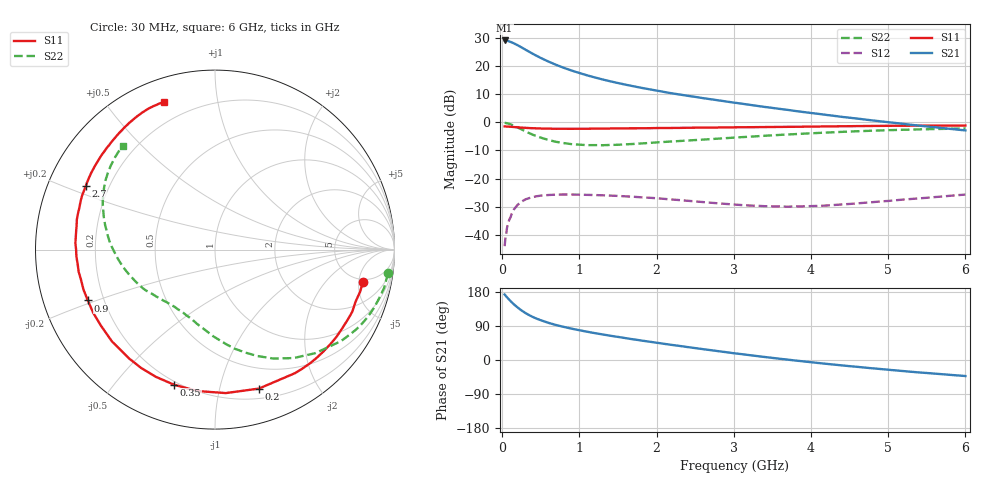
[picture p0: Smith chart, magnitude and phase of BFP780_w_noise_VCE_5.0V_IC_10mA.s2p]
! Infineon Technologies  Discrete & RF Semiconductors
! BFP780
! VCE =  5.0 V,  IC =  10 mA
! Common Emitter S-Parameters:  Jul 2015
# GHz  S  MA  R  50
!  f  S11  S21  S12  S22
! GHz  MAG  ANG  MAG  ANG  MAG  ANG  MAG  ANG
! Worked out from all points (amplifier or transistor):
!   75 points, 30 MHz to 6 GHz, reference 50 ohm
!   highest |S21| = 29.0 dB at 30 MHz (marker M1)
!   |S21| within 3 dB of that: start of sweep to 283.3 MHz
!   unconditionally stable (mu >= 1): 2.573 GHz to end of sweep
!   at 150 MHz: K = 0.09, MSG = 29.5 dB, |S12| = -31.0 dB
!   at 2.3 GHz: K = 0.85, MSG = 18.7 dB, |S12| = -27.7 dB
!   at 6 GHz: K = 1.35, MAG = 7.8 dB, |S12| = -25.7 dB
!   lowest NFmin = 0.78 dB at 450 MHz
!   S11 on the Smith chart (normalised r, x): 30 MHz: 4.56, -5.69; 200 MHz: 0.29, -1.32; 350 MHz: 0.18, -0.73; 900 MHz: 0.14, -0.19; 2.7 GHz: 0.12, +0.23; 6 GHz: 0.10, +0.71
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0.03  0.8438 -12.3  28.25 172.9  0.0063 72.9  0.9738 -7.8
0.05  0.8351 -20.4  28.21 167.9  0.01 73.4  0.9658 -12.9
0.08  0.8335 -32.2  27.58 161.2  0.0167 70.0  0.9432 -20.2
0.11  0.8288 -43.3  26.55 154.8  0.0211 63.8  0.9139 -27.5
0.15  0.8201 -57.1  25.11 147.0  0.0282 56.8  0.8674 -36.0
0.2  0.812 -72.5  23.2 138.3  0.0343 49.3  0.8035 -45.9
0.25  0.8017 -85.7  21.24 130.6  0.0389 43.3  0.7461 -54.1
0.3  0.7941 -97.1  19.41 124.0  0.0427 37.3  0.6888 -61.8
0.35  0.7867 -106.8  17.75 118.2  0.045 32.7  0.6388 -68.2
0.4  0.7817 -115.0  16.25 113.1  0.047 28.3  0.5966 -73.8
0.45  0.7773 -122.0  14.96 108.7  0.0486 24.8  0.5612 -79.0
0.6  0.769 -138.3  11.89 97.9  0.051 16.5  0.4828 -91.2
0.7  0.7638 -146.3  10.4 92.1  0.0518 12.3  0.4476 -97.8
0.9  0.7631 -158.2  8.243 82.6  0.052 6.1  0.4074 -108.8
1.1  0.7651 -167.1  6.784 74.6  0.0513 1.3  0.3911 -118.2
1.6  0.7786 177.3  4.628 57.6  0.0482 -7.0  0.4046 -135.5
2.1  0.7892 165.7  3.437 42.6  0.0435 -11.7  0.4463 -149.2
2.7  0.8019 153.9  2.559 26.0  0.0372 -12.0  0.5009 -164.5
3.1  0.8131 146.7  2.136 15.5  0.0338 -8.7  0.5425 -174.4
4.1  0.8381 130.7  1.404 -8.0  0.0327 7.4  0.6451 163.8
5.1  0.8647 118.0  0.967 -27.5  0.0412 16.6  0.7277 146.0
6  0.8711 108.9  0.715 -42.3  0.0519 15.9  0.7746 131.7
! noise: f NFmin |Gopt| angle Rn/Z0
0.45  0.78  0.21  99  0.08
0.9  0.87  0.24  126  0.11
1.5  1.06  0.36  157  0.06
1.8  1.29  0.44  173  0.06
2.4  1.55  0.52  -176  0.07
3  1.98  0.57  -157  0.12
3.5  2.67  0.62  -142  0.24
